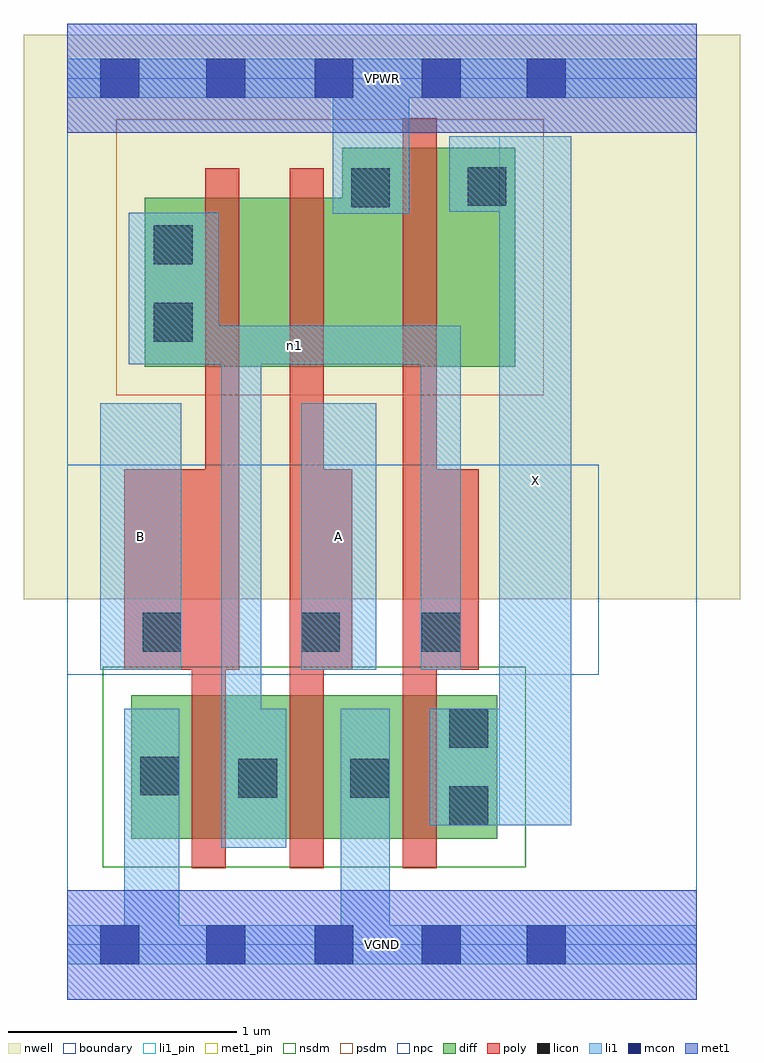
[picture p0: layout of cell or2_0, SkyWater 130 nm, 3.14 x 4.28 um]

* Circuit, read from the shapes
.subckt or2_0 A B VGND VPWR X n1
XM1 n1 B VGND VSUBS sky130_fd_pr__nfet_01v8 w=0.63 l=0.15
XM2 VGND A n1 VSUBS sky130_fd_pr__nfet_01v8 w=0.63 l=0.15
XM3 X n1 VGND VSUBS sky130_fd_pr__nfet_01v8 w=0.63 l=0.15
XM4 n2 B n1 n3 sky130_fd_pr__pfet_01v8 w=0.74 l=0.15
XM5 VPWR A n2 n3 sky130_fd_pr__pfet_01v8 w=0.74 l=0.15
XM6 X n1 VPWR n3 sky130_fd_pr__pfet_01v8 w=0.96 l=0.15
.ends

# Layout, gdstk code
import gdstk
lib = gdstk.Library(unit=1e-6, precision=1e-09)
def R(c, l, rs):  # rectangles x0, y0, x1, y1
    for r in rs: c.add(gdstk.rectangle(r[:2], r[2:], *l))
nwell = (64, 20)
diff = (65, 20)
poly = (66, 20)
licon = (66, 44)
li1_pin = (67, 16)
li1 = (67, 20)
mcon = (67, 44)
met1_pin = (68, 16)
met1 = (68, 20)
nsdm = (93, 44)
psdm = (94, 20)
npc = (95, 20)
boundary = (235, 4)

or2_0 = lib.new_cell('or2_0')
R(or2_0, nwell, [(-0.19,1.515,2.95,3.99), (0,1.515,2.76,3.99)])
R(or2_0, diff, [(0.28,0.465,1.885,1.095), (0.34,2.535,1.965,3.275), (1.205,2.535,1.965,3.495)])
R(or2_0, poly, [(0.545,0.335,0.695,2.085), (0.975,0.335,1.125,3.405), (1.47,0.335,1.62,3.625), (0.25,1.205,0.755,2.085), (0.605,1.205,0.755,3.405), (0.975,1.205,1.25,2.085), (1.47,1.205,1.805,2.085)])
R(or2_0, licon, [(1.675,0.525,1.845,0.695), (0.75,0.645,0.92,0.815), (1.24,0.645,1.41,0.815), (0.32,0.655,0.49,0.825), (1.675,0.865,1.845,1.035), (0.33,1.285,0.5,1.455), (1.025,1.285,1.195,1.455), (1.555,1.285,1.725,1.455), (0.38,2.645,0.55,2.815), (0.38,2.985,0.55,3.155), (1.245,3.235,1.415,3.405), (1.755,3.24,1.925,3.41)])
R(or2_0, li1_pin, [(1.895,0.525,2.21,3.545), (0.145,1.205,0.5,2.375), (1.025,1.205,1.355,2.375)])
R(or2_0, li1, [(0,-0.085,2.76,0.085), (0.25,-0.085,0.49,1.035), (1.2,-0.085,1.415,1.035), (0.675,0.425,0.85,2.715), (0.675,0.425,0.96,1.035), (1.59,0.525,2.21,1.035), (1.895,0.525,2.21,3.545), (0.145,1.205,0.5,2.375), (1.025,1.205,1.355,2.375), (1.55,1.205,1.725,2.715), (0.27,2.545,1.725,2.715), (0.27,2.545,0.665,3.21), (1.165,3.205,1.5,3.885), (1.675,3.215,2.21,3.545), (0,3.715,2.76,3.885)])
R(or2_0, mcon, [(0.145,-0.085,0.315,0.085), (0.61,-0.085,0.78,0.085), (1.085,-0.085,1.255,0.085), (1.555,-0.085,1.725,0.085), (2.015,-0.085,2.185,0.085), (0.145,3.715,0.315,3.885), (0.61,3.715,0.78,3.885), (1.085,3.715,1.255,3.885), (1.555,3.715,1.725,3.885), (2.015,3.715,2.185,3.885)])
R(or2_0, met1_pin, [(0,-0.24,2.76,0.24), (0,3.56,2.76,4.04)])
R(or2_0, met1, [(0,-0.24,2.76,0.24), (0,3.56,2.76,4.04)])
R(or2_0, nsdm, [(0.155,0.34,2.01,1.22)])
R(or2_0, psdm, [(0.215,2.41,2.09,3.62)])
R(or2_0, npc, [(0,1.185,2.33,2.105)])
R(or2_0, boundary, [(0,0,2.76,3.8)])
or2_0.add(gdstk.Label('A', (1.19,1.79), layer=67, texttype=5))
or2_0.add(gdstk.Label('B', (0.322,1.79), layer=67, texttype=5))
or2_0.add(gdstk.Label('X', (2.052,2.035), layer=67, texttype=5))
or2_0.add(gdstk.Label('n1', (0.997,2.63), layer=67, texttype=5))
or2_0.add(gdstk.Label('VPWR', (1.38,3.8), layer=68, texttype=5))
or2_0.add(gdstk.Label('VGND', (1.38,0), layer=68, texttype=5))
or2_0.add(gdstk.Label('A', (1.19,1.79), layer=67, texttype=16))
or2_0.add(gdstk.Label('B', (0.322,1.79), layer=67, texttype=16))
or2_0.add(gdstk.Label('X', (2.052,2.035), layer=67, texttype=16))
or2_0.add(gdstk.Label('VPWR', (1.38,3.8), layer=68, texttype=16))
or2_0.add(gdstk.Label('VGND', (1.38,0), layer=68, texttype=16))

lib.write_gds('or2_0.gds')
